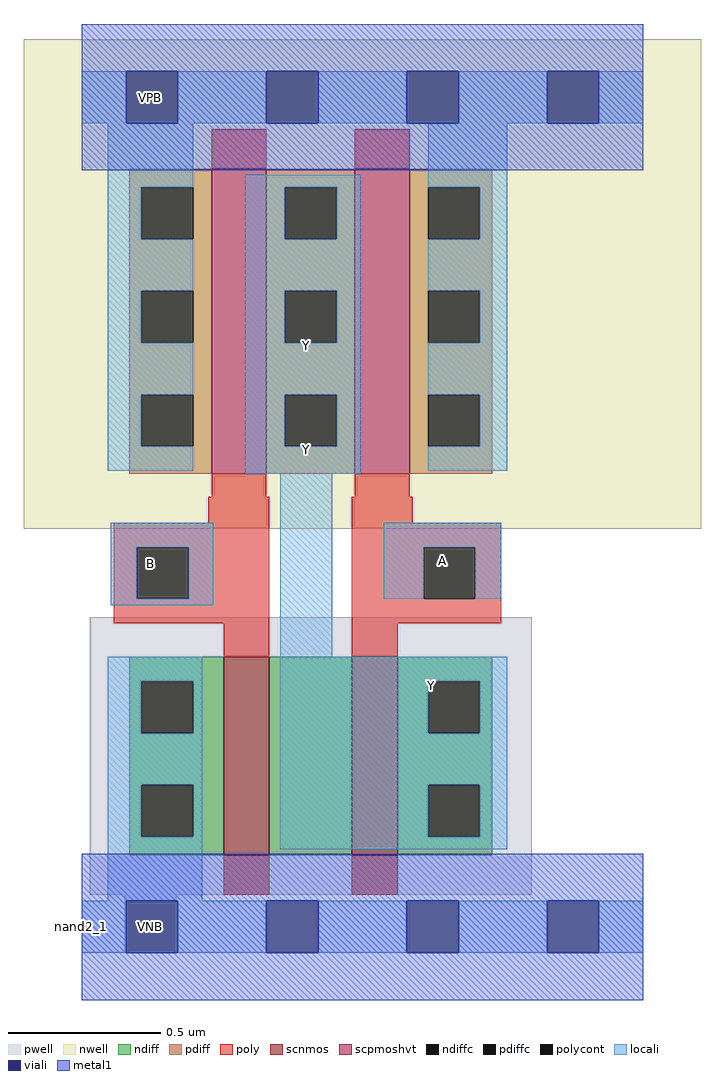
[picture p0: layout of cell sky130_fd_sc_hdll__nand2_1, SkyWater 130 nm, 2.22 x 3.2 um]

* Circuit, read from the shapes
.subckt sky130_fd_sc_hdll__nand2_1 A B VGND VNB VPB VPWR Y
XM1 n1 B VGND VNB sky130_fd_pr__nfet_01v8 w=0.65 l=0.15
XM2 Y A n1 VNB sky130_fd_pr__nfet_01v8 w=0.65 l=0.15
XM3 Y B VPWR VPB sky130_fd_pr__pfet_01v8_hvt w=1 l=0.18
XM4 VPWR A Y VPB sky130_fd_pr__pfet_01v8_hvt w=1 l=0.18
.ends

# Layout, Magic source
magic
tech sky130A
magscale 1 2
<< nwell >>
rect -38 261 406 582
<< pwell >>
rect 5 21 295 203
rect 28 -17 62 21
<< scnmos >>
rect 93 47 123 177
rect 177 47 207 177
<< scpmoshvt >>
rect 85 297 121 497
rect 179 297 215 497
<< ndiff >>
rect 31 161 93 177
rect 31 127 39 161
rect 73 127 93 161
rect 31 93 93 127
rect 31 59 39 93
rect 73 59 93 93
rect 31 47 93 59
rect 123 47 177 177
rect 207 161 269 177
rect 207 127 227 161
rect 261 127 269 161
rect 207 93 269 127
rect 207 59 227 93
rect 261 59 269 93
rect 207 47 269 59
<< pdiff >>
rect 31 485 85 497
rect 31 451 39 485
rect 73 451 85 485
rect 31 417 85 451
rect 31 383 39 417
rect 73 383 85 417
rect 31 349 85 383
rect 31 315 39 349
rect 73 315 85 349
rect 31 297 85 315
rect 121 485 179 497
rect 121 451 133 485
rect 167 451 179 485
rect 121 417 179 451
rect 121 383 133 417
rect 167 383 179 417
rect 121 349 179 383
rect 121 315 133 349
rect 167 315 179 349
rect 121 297 179 315
rect 215 485 269 497
rect 215 451 227 485
rect 261 451 269 485
rect 215 417 269 451
rect 215 383 227 417
rect 261 383 269 417
rect 215 349 269 383
rect 215 315 227 349
rect 261 315 269 349
rect 215 297 269 315
<< ndiffc >>
rect 39 127 73 161
rect 39 59 73 93
rect 227 127 261 161
rect 227 59 261 93
<< pdiffc >>
rect 39 451 73 485
rect 39 383 73 417
rect 39 315 73 349
rect 133 451 167 485
rect 133 383 167 417
rect 133 315 167 349
rect 227 451 261 485
rect 227 383 261 417
rect 227 315 261 349
<< poly >>
rect 85 497 121 523
rect 179 497 215 523
rect 85 282 121 297
rect 179 282 215 297
rect 83 265 123 282
rect 21 249 123 265
rect 21 215 36 249
rect 70 215 123 249
rect 21 199 123 215
rect 93 177 123 199
rect 177 265 217 282
rect 177 249 275 265
rect 177 215 224 249
rect 258 215 275 249
rect 177 199 275 215
rect 177 177 207 199
rect 93 21 123 47
rect 177 21 207 47
<< polycont >>
rect 36 215 70 249
rect 224 215 258 249
<< locali >>
rect 0 527 29 561
rect 63 527 121 561
rect 155 527 213 561
rect 247 527 305 561
rect 339 527 368 561
rect 17 485 73 527
rect 17 451 39 485
rect 17 417 73 451
rect 17 383 39 417
rect 17 349 73 383
rect 17 315 39 349
rect 17 299 73 315
rect 107 485 183 493
rect 107 451 133 485
rect 167 451 183 485
rect 107 417 183 451
rect 107 383 133 417
rect 167 383 183 417
rect 107 349 183 383
rect 107 315 133 349
rect 167 315 183 349
rect 107 297 183 315
rect 227 485 279 527
rect 261 451 279 485
rect 227 417 279 451
rect 261 383 279 417
rect 227 349 279 383
rect 261 315 279 349
rect 227 299 279 315
rect 19 249 86 265
rect 19 215 36 249
rect 70 215 86 249
rect 19 211 86 215
rect 130 177 164 297
rect 198 249 275 265
rect 198 215 224 249
rect 258 215 275 249
rect 17 161 79 177
rect 17 127 39 161
rect 73 127 79 161
rect 17 93 79 127
rect 17 59 39 93
rect 73 59 79 93
rect 17 17 79 59
rect 130 161 279 177
rect 130 127 227 161
rect 261 127 279 161
rect 130 93 279 127
rect 130 59 227 93
rect 261 59 279 93
rect 130 51 279 59
rect 0 -17 29 17
rect 63 -17 121 17
rect 155 -17 213 17
rect 247 -17 305 17
rect 339 -17 368 17
<< viali >>
rect 29 527 63 561
rect 121 527 155 561
rect 213 527 247 561
rect 305 527 339 561
rect 29 -17 63 17
rect 121 -17 155 17
rect 213 -17 247 17
rect 305 -17 339 17
<< metal1 >>
rect 0 561 368 592
rect 0 527 29 561
rect 63 527 121 561
rect 155 527 213 561
rect 247 527 305 561
rect 339 527 368 561
rect 0 496 368 527
rect 0 17 368 48
rect 0 -17 29 17
rect 63 -17 121 17
rect 155 -17 213 17
rect 247 -17 305 17
rect 339 -17 368 17
rect 0 -48 368 -17
<< labels >>
flabel locali s 130 296 164 330 0 FreeSans 250 0 0 0 Y
port 7 nsew signal output
flabel locali s 130 364 164 398 0 FreeSans 250 0 0 0 Y
port 7 nsew signal output
flabel locali s 212 141 246 175 0 FreeSans 250 0 0 0 Y
port 7 nsew signal output
flabel locali s 28 221 62 255 0 FreeSans 250 0 0 0 B
port 2 nsew signal input
flabel locali s 198 215 275 265 0 FreeSans 250 0 0 0 A
port 1 nsew signal input
flabel nwell s 28 527 62 561 0 FreeSans 200 0 0 0 VPB
port 5 nsew power bidirectional
flabel pwell s 28 -17 62 17 0 FreeSans 200 0 0 0 VNB
port 4 nsew ground bidirectional
flabel metal1 s 28 -17 62 17 0 FreeSans 200 0 0 0 VGND
port 3 nsew ground bidirectional
flabel metal1 s 28 527 62 561 0 FreeSans 200 0 0 0 VPWR
port 6 nsew power bidirectional
rlabel comment s 0 0 0 0 4 nand2_1
<< properties >>
string LEFsite unithd
string LEFclass CORE
string FIXED_BBOX 0 0 368 544
string GDS_FILE $PDKPATH/libs.ref/sky130_fd_sc_hdll/gds/sky130_fd_sc_hdll.gds
string LEFsymmetry X Y R90
string GDS_END 2176358
string GDS_START 2172242
string LEFproperties maskLayoutSubType "abstract" prCellType "standard" originalViewName "layout"
<< end >>
